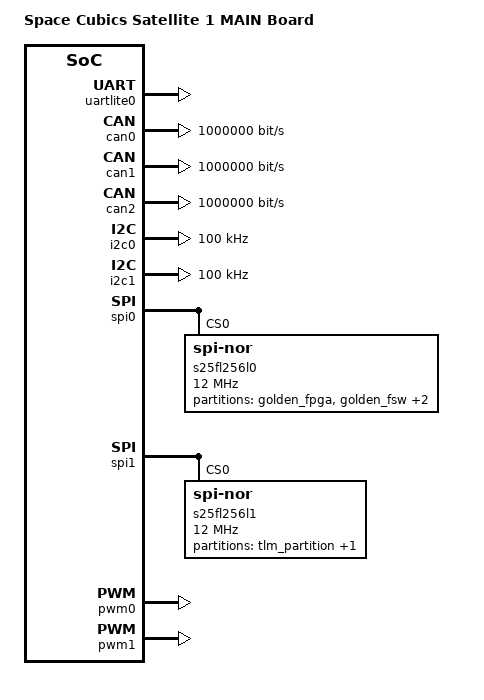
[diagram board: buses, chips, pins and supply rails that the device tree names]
/*
 * Copyright (c) 2023 Space Cubics, LLC.
 *
 * SPDX-License-Identifier: Apache-2.0
 */

/dts-v1/;
#include <arm/armv7-m.dtsi>
#include <mem.h>
#include <zephyr/dt-bindings/i2c/i2c.h>

/ {
	model = "Space Cubics Satellite 1 MAIN Board";

	chosen {
		zephyr,console = &uartlite0;
		zephyr,shell-uart = &uartlite0;
		zephyr,sram = &hrmem;
		zephyr,canbus = &can0;
	};

	cpus {
		#address-cells = <1>;
		#size-cells = <0>;

		cpu0: cpu@0 {
			device_type = "cpu";
			compatible = "arm,cortex-m3";
			reg = <0>;
			#address-cells = <1>;
			#size-cells = <1>;

			mpu: mpu@e000ed90 {
				compatible = "arm,armv7m-mpu";
				reg = <0xe000ed90 0x40>;
			};
		};
	};

	soc {
		hrmem: memory@0 {
			compatible = "sc,hrmem";
			reg = <0x00000000 DT_SIZE_M(4)>;
		};

		uartlite0: uartlite@4f010000 {
			compatible = "xlnx,xps-uartlite-1.00.a";
			interrupts = <0 0>;
			reg = <0x4f010000 0x10000>;
		};

		can0: can@40400000 {
			compatible = "sc,can";
			clock-frequency = <24000000>;
			interrupts = <5 0>;
			reg = <0x40400000 0x10000>;
			bitrate = <1000000>;
			sample-point = <750>;
			tx-fifo-depth = <64>;
			max-filter = <4>;

			can-transceiver {
				max-bitrate = <1000000>;
			};
		};

		can1: can@50100000 {
			compatible = "sc,can";
			clock-frequency = <24000000>;
			interrupts = <19 0>;
			reg = <0x50100000 0x10000>;
			bitrate = <1000000>;
			sample-point = <750>;
			tx-fifo-depth = <64>;
			max-filter = <4>;

			can-transceiver {
				max-bitrate = <1000000>;
			};
		};

		can2: can@50200000 {
			compatible = "sc,can";
			clock-frequency = <24000000>;
			interrupts = <20 0>;
			reg = <0x50200000 0x10000>;
			bitrate = <1000000>;
			sample-point = <750>;
			tx-fifo-depth = <64>;
			max-filter = <4>;

			can-transceiver {
				max-bitrate = <1000000>;
			};
		};

		i2c0: i2c@4f030000 {
			compatible = "sc,i2c";
			interrupts = <7 0>;
			reg = <0x4f030000 0x10000>;
			#address-cells = <1>;
			#size-cells = <0>;
			clock-frequency = <I2C_BITRATE_STANDARD>;
		};

		i2c1: i2c@50010000 {
			compatible = "sc,i2c";
			interrupts = <16 0>;
			reg = <0x50010000 0x10000>;
			#address-cells = <1>;
			#size-cells = <0>;
			clock-frequency = <I2C_BITRATE_STANDARD>;
		};

		spi0: spi@40000000 {
			compatible = "sc,qspi";
			interrupts = <2 0>;
			reg = <0x40000000 0x1000>;
			#address-cells = <1>;
			#size-cells = <0>;
			slave-num = <1>;
			cpol = <0>;
			cpha = <0>;
			spiclk_div = <0>;
			data-capture-mode;

			s25fl256l0: s25fl256l0@0 {
				compatible = "jedec,spi-nor";
				reg = <0>;
				size = <DT_SIZE_M(256)>;
				spi-max-frequency = <12000000>;
				status = "okay";
				enter-4byte-addr = <1>;
				jedec-id = [01 60 19];

				partitions {
					compatible = "fixed-partitions";
					#address-cells = <1>;
					#size-cells = <1>;
					golden_fpga: partition@0 {
						reg = <0x00000000 DT_SIZE_M(8)>;
					};
					golden_fsw: partition@800000 {
						reg = <0x00800000 (DT_SIZE_M(4))>;
					};
					update_fpga: partition@1000000 {
						reg = <0x01000000 DT_SIZE_M(10)>;
					};
					update_fsw: partition@1A00000 {
						reg = <0x01A00000 (DT_SIZE_M(4))>;
					};
				};
			};
		};

		spi1: spi@40100000 {
			compatible = "sc,qspi";
			interrupts = <3 0>;
			reg = <0x40100000 0x1000>;
			#address-cells = <1>;
			#size-cells = <0>;
			slave-num = <2>;
			cpol = <0>;
			cpha = <0>;
			spiclk_div = <0>;
			data-capture-mode;

			s25fl256l1: s25fl256l1@0 {
				compatible = "jedec,spi-nor";
				reg = <0>;
				size = <DT_SIZE_M(256)>;
				spi-max-frequency = <12000000>;
				status = "okay";
				enter-4byte-addr = <1>;
				jedec-id = [01 60 19];

				partitions {
					compatible = "fixed-partitions";
					#address-cells = <1>;
					#size-cells = <1>;

					tlm_partition: partition@0 {
						label = "tlm_partition";
						reg = <0x00000000 (DT_SIZE_M(8))>;
					};

					storage_partition: partition@800000 {
						label = "storage_partition";
						reg = <0x00800000 (DT_SIZE_M(24))>;
					};
				};
			};
		};

		pwm0: pwm@50020000 {
			compatible = "sc,pwm";
			reg = <0x50020000 0x10000>;
			max-out-channel = <6>;
		};

		pwm1: pwm@50030000 {
			compatible = "sc,pwm";
			reg = <0x50030000 0x10000>;
			max-out-channel = <6>;
		};

		dstrx: dstrx@50300000 {
			compatible = "sc,dstrx3";
			reg = <0x50300000 0x10000>;
			interrupts = <21 0>;
			tx-power = <15>;
			bit-rate = <3>;
		};

		fpgasys: fpgasys@4f000000 {
			compatible = "sc,fpgasys";
			reg = <0x4f000000 0x10000>;
		};

		fpgamon: fpgamon@4f040000 {
			compatible = "sc,fpgamon";
			reg = <0x4f040000 0x1000>;
		};

		fpgahrmem: fpgahrmem@40500000 {
			compatible = "sc,fpgahrmem";
			reg = <0x40500000 0x1000>;
		};
	};
};

&nvic {
	arm,num-irq-priority-bits = <3>;
};
